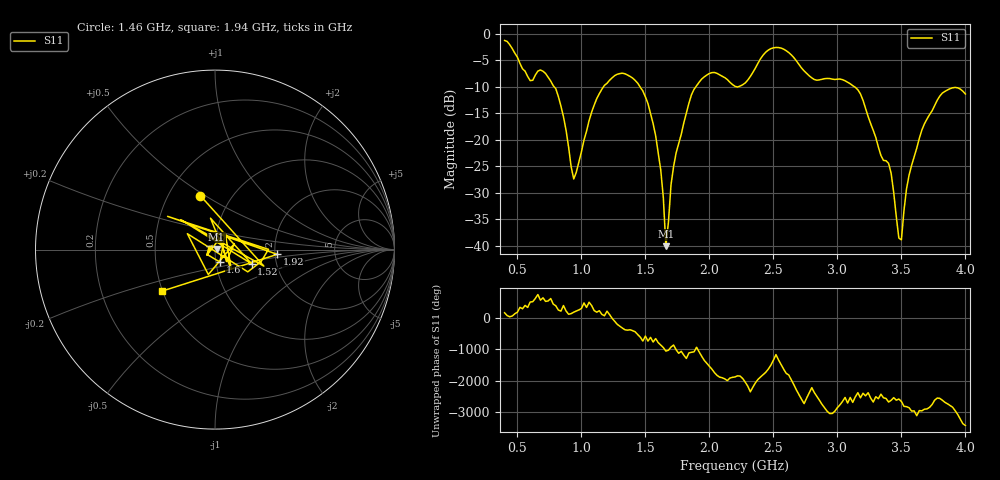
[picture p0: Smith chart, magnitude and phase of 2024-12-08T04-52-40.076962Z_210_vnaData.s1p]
!Created with skrf (http://scikit-rf.org).
# Hz S RI R 50.0
!freq ReS11 ImS11
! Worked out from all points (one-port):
!   181 points, 400 MHz to 4 GHz, reference 50 ohm
!   lowest |S11| = -40.1 dB at 1.66 GHz (marker M1), VSWR 1.02, Z = 50.9 + j0.398 ohm
!   |S11| at or under -10 dB: 785.8 MHz to 1.173 GHz (387.6 MHz wide, 39.6 % of centre); 1.457 GHz to 1.895 GHz (438 MHz wide, 26.1 % of centre); 3.131 GHz to end of sweep (the widest 3 of 4)
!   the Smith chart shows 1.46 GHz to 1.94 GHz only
!   S11 on the Smith chart (normalised r, x): 1.46 GHz: 0.72, +0.48; 1.52 GHz: 1.49, -0.25; 1.6 GHz: 1.05, -0.15; 1.92 GHz: 2.06, -0.12; 1.94 GHz: 0.50, -0.27
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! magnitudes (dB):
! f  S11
! 400 MHz  -1.3
! 600 MHz  -8.9
! 720 MHz  -7.5
! 860 MHz  -15.7
! 940 MHz  -27.4
! 1.12 GHz  -12.3
! 1.3 GHz  -7.5
! 1.46 GHz  -10.1
! 1.52 GHz  -13.2
! 1.6 GHz  -22.5
! 1.64 GHz  -30.9
! 1.66 GHz  -40.1
! 1.7 GHz  -28.6
! 1.76 GHz  -20.7
! 1.92 GHz  -9.2
! 1.94 GHz  -8.6
! 2.2 GHz  -9.9
! 2.48 GHz  -2.8
! 2.66 GHz  -4.5
! 2.82 GHz  -8.7
! 3.1 GHz  -9.5
! 3.4 GHz  -24.5
! 3.48 GHz  -38.6
! 3.5 GHz  -38.9
! 3.56 GHz  -26.7
! 3.66 GHz  -18.2
! 3.8 GHz  -11.8
! 4 GHz  -11.4
